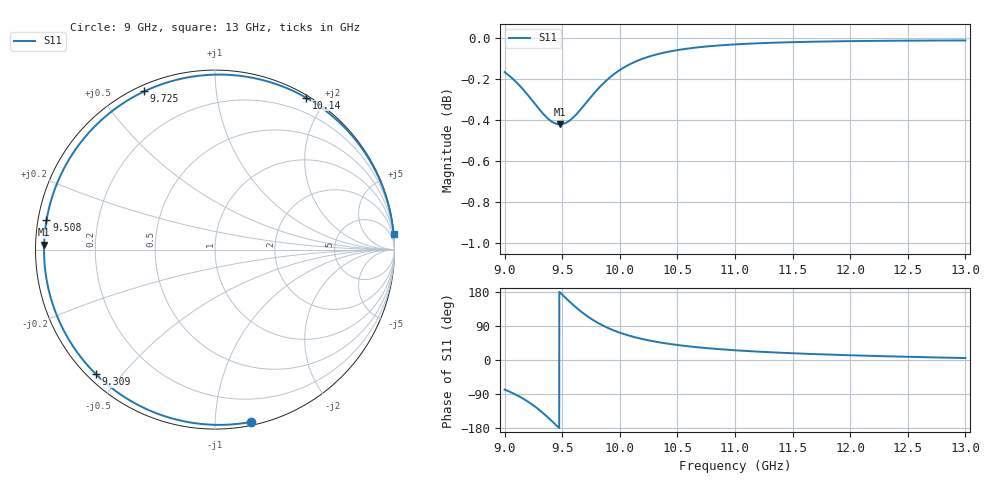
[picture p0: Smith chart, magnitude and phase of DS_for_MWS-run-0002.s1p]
! TOUCHSTONE file generated by CST DESIGN STUDIO
! Date and time: Tue Feb  4 17:55:13 2025
! Project name: C:\Work\MatlabApps\UnitCellOptimizationMatlab\CST\unitcell.cst
! Tree item: Tasks\Sweep1\SPara1\S-Parameters
! Header version: 2024
! Port assignment regex: !\s*Touchstone port\s*([0-9]+)\s*=\s*(CST MWS port|CST DES external port|CST DES block port)\s*(.+)\s* \(\"(.*)\"\)(\s*mode\s*([0-9]+))?.*
! Touchstone port assignment:
! Touchstone port 1 = CST DES external port 1 ("")
# GHz S MA R 50
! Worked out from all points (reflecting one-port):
!   4001 points, 9 GHz to 13 GHz, reference 50 ohm
!   lowest |S11| = -0.4 dB at 9.48 GHz (marker M1), VSWR 41.27, Z = 1.21 + j0.701 ohm
!   phase of S11 starts at -78 deg and turns -277 deg over the sweep
!   S11 on the Smith chart (normalised r, x): 9 GHz: 0.02, -1.23; 9.309 GHz: 0.02, -0.43; 9.508 GHz: 0.02, +0.09; 9.725 GHz: 0.02, +0.65; 10.14 GHz: 0.03, +1.76; 13 GHz: 0, +22
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9  0.981 -78.2
9.078  0.9769 -88.5
9.176  0.9704 -104.7
9.245  0.9651 -118.7
9.309  0.9602 -133.7
9.354  0.9571 -145.5
9.402  0.9545 -158.8
9.442  0.9531 -170.4
9.48  0.9527 178.4
9.5  0.9528 172.5
9.508  0.9529 170.1
9.56  0.9545 155.1
9.62  0.9579 138.8
9.672  0.9616 125.9
9.725  0.9656 114.1
9.78  0.9697 103.2
9.841  0.9738 92.8
9.919  0.9783 81.6
10  0.9821 72.1
10.144  0.987 59.1
10.305  0.9905 48.6
10.5  0.9931 39.6
10.722  0.9949 32.2
11  0.9963 25.7
11.5  0.9975 17.8
12  0.9981 12.5
12.5  0.9984 8.5
13  0.9985 5.1
